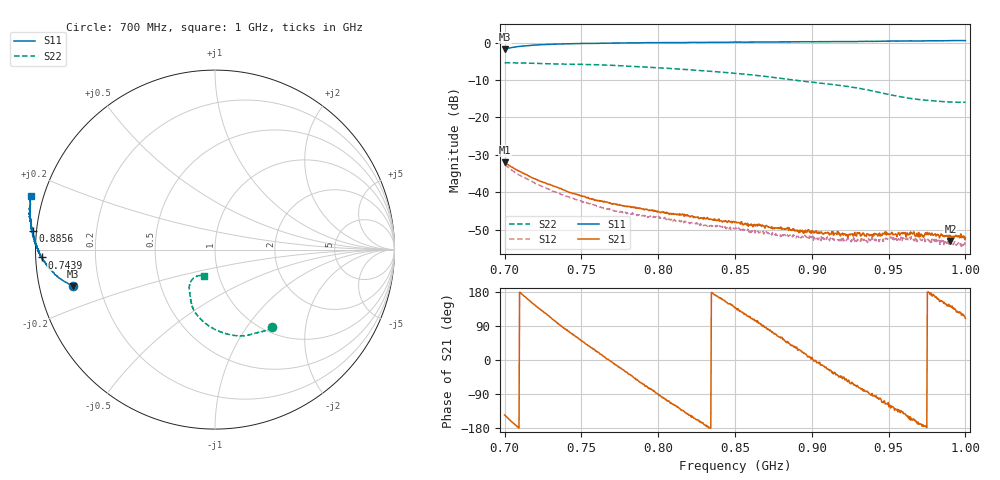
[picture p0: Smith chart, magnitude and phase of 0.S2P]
! C:\Users\rflab\Downloads\Lab5_KD_ZW\Q2\728 MHz\0.S2P
! Touchstone 1.1 file saved by VNA.EXE V1.65 (www.ke5fx.com/gpib/readme.htm)
! 11/18/2024 9:08:40 PM
!  Source: HEWLETT PACKARD,8753D,0,6.14
!  Min freq: 7.000000E+008 Hz
!  Max freq: 1.000000E+009 Hz
!  Points: 801
!  Params: S11 S21 S12 S22
# GHZ S MA R 50
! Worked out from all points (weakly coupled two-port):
!   801 points, 700 MHz to 1 GHz, reference 50 ohm
!   highest |S21| = -31.97 dB at 700 MHz (marker M1); lowest = -53.0 dB at 990.2 MHz (marker M2)
!   lowest |S11| = -1.8 dB at 700 MHz (marker M3), VSWR 9.95, Z = 5.1 - j6.24 ohm
!   |S11| at or under -10 dB: nowhere
!   |S22| runs from -16.0 to -5.4 dB; largest |S21 - S12| = 0.0079
!   S11 on the Smith chart (normalised r, x): 700 MHz: 0.10, -0.12; 743.9 MHz: 0.02, -0.02; 885.6 MHz: -0.01, +0.05; 1 GHz: -0.03, +0.14
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0.7  0.8174 -165.6  0.0252 -145.1  0.02359 -163.3  0.5367 -53.6
0.7075  0.8782 -169.4  0.01998 -173.1  0.01812 167.3  0.5364 -55.8
0.71875  0.925 -173.1  0.01547 147.8  0.01362 128.5  0.5283 -59.2
0.743875  0.9667 -177.4  0.009734 69.1  0.008335 49.7  0.5141 -66.2
0.75025  0.9722 -178.0  0.008795 49.5  0.007618 31.7  0.5114 -68.3
0.772  0.985 -179.9  0.00694 -12.6  0.005551 -31.3  0.4943 -76.0
0.800125  0.999 178.3  0.005568 -90.9  0.00465 -108.5  0.4603 -85.7
0.8305  1.007 176.9  0.004425 -171.5  0.003618 170.9  0.4193 -96.3
0.85  1.016 175.9  0.003996 137.3  0.003286 124.5  0.3888 -103.2
0.860125  1.016 175.5  0.003607 110.8  0.003087 95.3  0.3719 -106.6
0.885625  1.021 174.2  0.00321 42.5  0.002674 26.0  0.3211 -114.5
0.90025  1.027 173.5  0.003078 7.2  0.002458 -12.9  0.2954 -117.9
0.9235  1.036 172.4  0.002486 -57.0  0.002443 -72.6  0.259 -123.5
0.9295  1.034 171.9  0.002894 -66.9  0.002251 -87.9  0.2477 -125.1
0.937375  1.04 171.2  0.002627 -89.7  0.002259 -101.6  0.2307 -126.8
0.950125  1.05 170.2  0.002775 -123.3  0.002346 -132.7  0.203 -127.1
0.965125  1.053 168.9  0.002821 -157.5  0.00243 -172.0  0.1787 -124.1
0.9715  1.053 168.3  0.00272 -171.2  0.002272 167.5  0.1719 -122.2
0.97675  1.058 167.6  0.002846 178.0  0.002233 159.7  0.1679 -120.6
0.99025  1.063 165.6  0.002238 143.1  0.002016 124.8  0.1609 -116.1
0.998125  1.066 164.1  0.002497 121.7  0.001962 101.7  0.1591 -113.0
1  1.067 163.8  0.002501 110.0  0.002122 99.8  0.1596 -112.3
